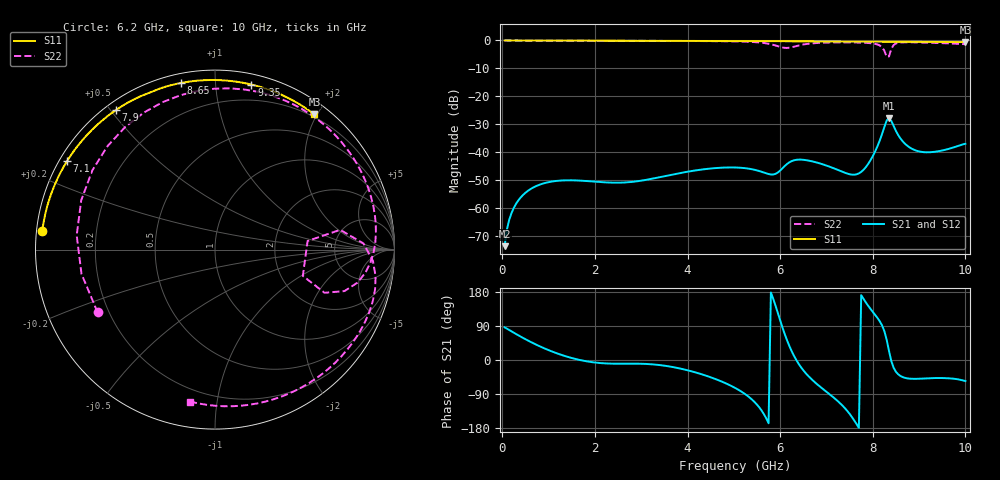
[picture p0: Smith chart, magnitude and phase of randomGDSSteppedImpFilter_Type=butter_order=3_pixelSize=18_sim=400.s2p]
! freq	dB(S11)	phase(S11)	dB(S12)	phase(S12)
!  dB(S21)	phase(S21)	dB(S22)	phase(S22)
!S-par simulation data
#  GHz  S  DB  R 50
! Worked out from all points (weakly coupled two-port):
!   200 points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, 50 MHz to 10 GHz, reference 50 ohm
!   highest |S21| = -27.73 dB at 8.35 GHz (marker M1); lowest = -73.6 dB at 50 MHz (marker M2)
!   lowest |S11| = -0.6 dB at 10 GHz (marker M3), VSWR 29.69, Z = 8.23 + j98.3 ohm
!   |S11| at or under -10 dB: nowhere
!   |S22| runs from -5.8 to 0.0 dB; largest |S21 - S12| = 0
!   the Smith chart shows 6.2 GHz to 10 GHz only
!   S11 on the Smith chart (normalised r, x): 6.2 GHz: 0.02, +0.05; 7.1 GHz: 0.02, +0.28; 7.9 GHz: 0.03, +0.52; 8.65 GHz: 0.04, +0.81; 9.35 GHz: 0.08, +1.24; 10 GHz: 0.16, +1.97
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0.05  -0.00 -1.8  -73.57 86.3  -73.57 86.3  -0.00 -5.6
0.3  -0.02 -10.7  -58.35 68.4  -58.35 68.4  -0.05 -32.7
0.8  -0.04 -28.3  -51.61 36.6  -51.61 36.6  -0.09 -80.6
1.75  -0.08 -60.5  -50.19 -1.9  -50.19 -1.9  -0.12 -144.7
2.5  -0.10 -84.2  -50.88 -9.9  -50.88 -9.9  -0.13 179.5
3.4  -0.14 -110.8  -48.90 -13.4  -48.90 -13.4  -0.15 142.6
4.35  -0.18 -137.0  -46.08 -39.4  -46.08 -39.4  -0.22 102.7
5.05  -0.21 -155.7  -45.45 -75.2  -45.45 -75.2  -0.34 65.4
5.45  -0.24 -166.2  -46.26 -111.2  -46.26 -111.2  -0.59 33.0
5.75  -0.26 -174.2  -47.78 -166.9  -47.78 -166.9  -1.18 -9.0
6  -0.27 179.2  -46.52 104.5  -46.52 104.5  -2.31 -75.5
6.2  -0.29 173.8  -43.58 36.6  -43.58 36.6  -2.59 -151.9
6.45  -0.30 167.1  -42.62 -19.1  -42.62 -19.1  -1.61 136.0
6.7  -0.32 160.2  -43.28 -53.3  -43.28 -53.3  -1.02 96.2
7.1  -0.35 149.0  -45.34 -93.6  -45.34 -93.6  -0.71 58.3
7.9  -0.41 125.4  -44.17 143.1  -44.17 143.1  -0.90 5.8
8.25  -0.46 114.5  -30.96 76.2  -30.96 76.2  -3.66 -21.5
8.35  -0.47 111.4  -27.73 24.0  -27.73 24.0  -5.71 5.3
8.45  -0.46 108.3  -30.59 -20.3  -30.59 -20.3  -1.65 2.4
8.65  -0.47 101.6  -36.14 -45.3  -36.14 -45.3  -0.68 -18.1
9.35  -0.52 77.5  -39.80 -47.6  -39.80 -47.6  -0.87 -60.3
10  -0.59 53.7  -36.95 -55.5  -36.95 -55.5  -1.33 -99.3
